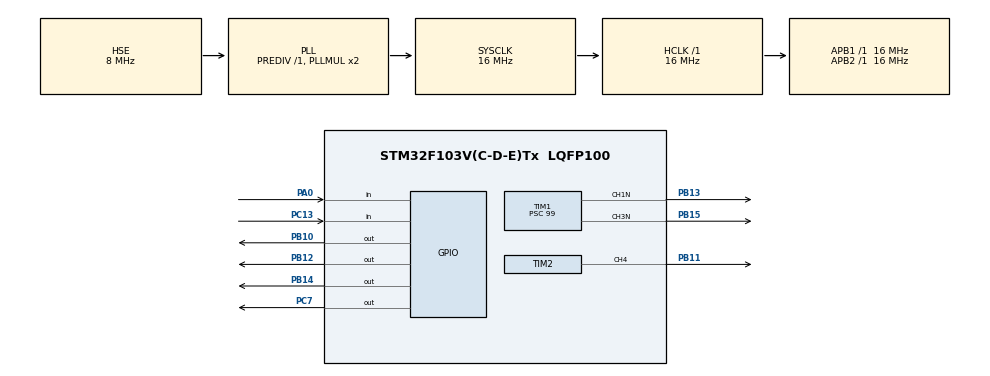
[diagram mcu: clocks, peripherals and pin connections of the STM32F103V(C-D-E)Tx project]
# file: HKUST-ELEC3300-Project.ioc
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Mcu.Family=STM32F1
Mcu.Name=STM32F103V(C-D-E)Tx
Mcu.Package=LQFP100
NVIC.PriorityGroup=NVIC_PRIORITYGROUP_4
OSC_IN.Mode=HSE-External-Oscillator
OSC_IN.Signal=RCC_OSC_IN
OSC_OUT.Mode=HSE-External-Oscillator
OSC_OUT.Signal=RCC_OSC_OUT
PA0-WKUP.Signal=GPIO_Input
PA13.Mode=Serial_Wire
PA13.Signal=SYS_JTMS-SWDIO
PA14.Mode=Serial_Wire
PA14.Signal=SYS_JTCK-SWCLK
PB10.GPIO_ModeDefaultOutputPP=GPIO_MODE_OUTPUT_PP
PB10.GPIO_PuPd=GPIO_NOPULL
PB10.Signal=GPIO_Output
PB11.Signal=S_TIM2_CH4
PB12.GPIO_ModeDefaultOutputPP=GPIO_MODE_OUTPUT_PP
PB12.GPIO_PuPd=GPIO_NOPULL
PB12.Signal=GPIO_Output
PB13.Mode=PWM Generation1 CH1N
PB13.Signal=TIM1_CH1N
PB14.GPIO_ModeDefaultOutputPP=GPIO_MODE_OUTPUT_PP
PB14.GPIO_PuPd=GPIO_NOPULL
PB14.Signal=GPIO_Output
PB15.Mode=PWM Generation3 CH3N
PB15.Signal=TIM1_CH3N
PC13-TAMPER-RTC.Signal=GPIO_Input
PC14-OSC32_IN.Mode=LSE-External-Oscillator
PC14-OSC32_IN.Signal=RCC_OSC32_IN
PC15-OSC32_OUT.Mode=LSE-External-Oscillator
PC15-OSC32_OUT.Signal=RCC_OSC32_OUT
PC7.GPIO_ModeDefaultOutputPP=GPIO_MODE_OUTPUT_PP
PC7.GPIO_PuPd=GPIO_NOPULL
PC7.Signal=GPIO_Output
ProjectManager.HeapSize=0x200
ProjectManager.StackSize=0x400
ProjectManager.TargetToolchain=CMake
RCC.AHBFreq_Value=16000000
RCC.APB1Freq_Value=16000000
RCC.APB1TimFreq_Value=16000000
RCC.APB2Freq_Value=16000000
RCC.APB2TimFreq_Value=16000000
RCC.HCLKFreq_Value=16000000
RCC.PLLSourceVirtual=RCC_PLLSOURCE_HSE
RCC.RCC_MCOSource=RCC_MCO1SOURCE_PLLCLK
RCC.SYSCLKFreq_VALUE=16000000
RCC.SYSCLKSource=RCC_SYSCLKSOURCE_PLLCLK
RCC.USBFreq_Value=16000000
SH.S_TIM2_CH4.0=TIM2_CH4,PWM Generation4 CH4
TIM1.Channel-PWM\ Generation1\ CH1N=TIM_CHANNEL_1
TIM1.Channel-PWM\ Generation3\ CH3N=TIM_CHANNEL_3
TIM1.Period=71
TIM1.Prescaler=99
TIM1.Pulse-PWM\ Generation1\ CH1N=35
TIM1.Pulse-PWM\ Generation3\ CH3N=35
TIM2.Channel-PWM\ Generation4\ CH4=TIM_CHANNEL_4
TIM2.Period=71
TIM2.Prescaler=99
TIM2.Pulse-PWM\ Generation4\ CH4=35
VP_TIM1_VS_ClockSourceINT.Mode=Internal
VP_TIM2_VS_ClockSourceINT.Mode=Internal
board=custom

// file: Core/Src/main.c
/* USER CODE BEGIN Header */
/**
 ******************************************************************************
 * @file           : main.c
 * @brief          : Main program body
 ******************************************************************************
 * @attention
 *
 * Copyright (c) 2025 STMicroelectronics.
 * All rights reserved.
 *
 * This software is licensed under terms that can be found in the LICENSE file
 * in the root directory of this software component.
 * If no LICENSE file comes with this software, it is provided AS-IS.
 *
 ******************************************************************************
 */
/* USER CODE END Header */
#include "main.h"

/* USER CODE BEGIN Includes */

#include <math.h>

/* USER CODE END Includes */

/* USER CODE BEGIN PD */

// Motor directions
#define MOTOR_L_DIR GPIO_PIN_12
#define MOTOR_L_STEP GPIO_PIN_13
#define MOTOR_R_DIR GPIO_PIN_14
#define MOTOR_R_STEP GPIO_PIN_15

#define DIR_CW GPIO_PIN_SET
#define DIR_CCW GPIO_PIN_RESET
// #define DIR_STOP  PLACEHOLD

#define DFLT_STEP_T 1
#define DFLT_STEP_FREQ 1000
#define DFLT_STEP_CYCLE 50

/* USER CODE END PD */

TIM_HandleTypeDef htim1;
TIM_HandleTypeDef htim2;

/* USER CODE BEGIN PV */

int32_t Global_X = 0;
int32_t Global_Y = 0;

/* USER CODE END PV */

void SystemClock_Config(void);
static void MX_GPIO_Init(void);
static void MX_TIM1_Init(void);
static void MX_TIM2_Init(void);
/* USER CODE BEGIN PFP */
void penup();
void pendown();
void legacyMove(uint8_t direction, uint32_t time, uint8_t draw);
void moveToXY(float delta_X, float delta_Y);
void moveAngle(float distance, float angle);
void moveToAbsoluteXY(int32_t target_X, int32_t target_Y);
void motorControl(int32_t delta_MotorL, int32_t delta_MotorR);
void updateGlobalXY(float delta_X, float delta_Y);
void drawFu();
void drawCircle();
void drawRegularPentagon();
/* USER CODE END PFP */

int main(void)
{

  /* MCU Configuration--------------------------------------------------------*/

  /* Reset of all peripherals, Initializes the Flash interface and the Systick. */
  HAL_Init();

  /* Configure the system clock */
  SystemClock_Config();

  /* Initialize all configured peripherals */
  MX_GPIO_Init();
  MX_TIM1_Init();
  MX_TIM2_Init();
  /* USER CODE BEGIN 2 */
  HAL_GPIO_WritePin(GPIOC, GPIO_PIN_7, GPIO_PIN_RESET); // enable
  moveToXY(100, 0);
  moveToXY(-100, 0);
  moveToXY(0, 100);
  moveToXY(0, -100);
  penup();
  pendown();
  HAL_GPIO_WritePin(GPIOC, GPIO_PIN_7, GPIO_PIN_SET); // disable
  /* USER CODE END 2 */

  /* Infinite loop */
  /* USER CODE BEGIN WHILE */
  while (1)
  {
    if (HAL_GPIO_ReadPin(GPIOA, GPIO_PIN_0))
    {
      drawFu();
    }
    if (HAL_GPIO_ReadPin(GPIOC, GPIO_PIN_13))
    {
      drawCircle();
      drawRegularPentagon();
    }
    /* USER CODE END WHILE */

  }
}

void SystemClock_Config(void)
{
  RCC_OscInitTypeDef RCC_OscInitStruct = {0};
  RCC_ClkInitTypeDef RCC_ClkInitStruct = {0};

  /** Initializes the RCC Oscillators according to the specified parameters
  * in the RCC_OscInitTypeDef structure.
  */
  RCC_OscInitStruct.OscillatorType = RCC_OSCILLATORTYPE_HSE;
  RCC_OscInitStruct.HSEState = RCC_HSE_ON;
  RCC_OscInitStruct.HSEPredivValue = RCC_HSE_PREDIV_DIV1;
  RCC_OscInitStruct.HSIState = RCC_HSI_ON;
  RCC_OscInitStruct.PLL.PLLState = RCC_PLL_ON;
  RCC_OscInitStruct.PLL.PLLSource = RCC_PLLSOURCE_HSE;
  RCC_OscInitStruct.PLL.PLLMUL = RCC_PLL_MUL2;
  if (HAL_RCC_OscConfig(&RCC_OscInitStruct) != HAL_OK)
  {
    Error_Handler();
  }

  /** Initializes the CPU, AHB and APB buses clocks
  */
  RCC_ClkInitStruct.ClockType = RCC_CLOCKTYPE_HCLK|RCC_CLOCKTYPE_SYSCLK
                              |RCC_CLOCKTYPE_PCLK1|RCC_CLOCKTYPE_PCLK2;
  RCC_ClkInitStruct.SYSCLKSource = RCC_SYSCLKSOURCE_PLLCLK;
  RCC_ClkInitStruct.AHBCLKDivider = RCC_SYSCLK_DIV1;
  RCC_ClkInitStruct.APB1CLKDivider = RCC_HCLK_DIV1;
  RCC_ClkInitStruct.APB2CLKDivider = RCC_HCLK_DIV1;

  if (HAL_RCC_ClockConfig(&RCC_ClkInitStruct, FLASH_LATENCY_0) != HAL_OK)
  {
    Error_Handler();
  }
}

static void MX_TIM1_Init(void)
{

  TIM_ClockConfigTypeDef sClockSourceConfig = {0};
  TIM_MasterConfigTypeDef sMasterConfig = {0};
  TIM_OC_InitTypeDef sConfigOC = {0};
  TIM_BreakDeadTimeConfigTypeDef sBreakDeadTimeConfig = {0};

  htim1.Instance = TIM1;
  htim1.Init.Prescaler = 99;
  htim1.Init.CounterMode = TIM_COUNTERMODE_UP;
  htim1.Init.Period = 71;
  htim1.Init.ClockDivision = TIM_CLOCKDIVISION_DIV1;
  htim1.Init.RepetitionCounter = 0;
  htim1.Init.AutoReloadPreload = TIM_AUTORELOAD_PRELOAD_DISABLE;
  if (HAL_TIM_Base_Init(&htim1) != HAL_OK)
  {
    Error_Handler();
  }
  sClockSourceConfig.ClockSource = TIM_CLOCKSOURCE_INTERNAL;
  if (HAL_TIM_ConfigClockSource(&htim1, &sClockSourceConfig) != HAL_OK)
  {
    Error_Handler();
  }
  if (HAL_TIM_PWM_Init(&htim1) != HAL_OK)
  {
    Error_Handler();
  }
  sMasterConfig.MasterOutputTrigger = TIM_TRGO_RESET;
  sMasterConfig.MasterSlaveMode = TIM_MASTERSLAVEMODE_DISABLE;
  if (HAL_TIMEx_MasterConfigSynchronization(&htim1, &sMasterConfig) != HAL_OK)
  {
    Error_Handler();
  }
  sConfigOC.OCMode = TIM_OCMODE_PWM1;
  sConfigOC.Pulse = 35;
  sConfigOC.OCPolarity = TIM_OCPOLARITY_HIGH;
  sConfigOC.OCNPolarity = TIM_OCNPOLARITY_HIGH;
  sConfigOC.OCFastMode = TIM_OCFAST_DISABLE;
  sConfigOC.OCIdleState = TIM_OCIDLESTATE_RESET;
  sConfigOC.OCNIdleState = TIM_OCNIDLESTATE_RESET;
  if (HAL_TIM_PWM_ConfigChannel(&htim1, &sConfigOC, TIM_CHANNEL_1) != HAL_OK)
  {
    Error_Handler();
  }
  if (HAL_TIM_PWM_ConfigChannel(&htim1, &sConfigOC, TIM_CHANNEL_3) != HAL_OK)
  {
    Error_Handler();
  }
  sBreakDeadTimeConfig.OffStateRunMode = TIM_OSSR_DISABLE;
  sBreakDeadTimeConfig.OffStateIDLEMode = TIM_OSSI_DISABLE;
  sBreakDeadTimeConfig.LockLevel = TIM_LOCKLEVEL_OFF;
  sBreakDeadTimeConfig.DeadTime = 0;
  sBreakDeadTimeConfig.BreakState = TIM_BREAK_DISABLE;
  sBreakDeadTimeConfig.BreakPolarity = TIM_BREAKPOLARITY_HIGH;
  sBreakDeadTimeConfig.AutomaticOutput = TIM_AUTOMATICOUTPUT_DISABLE;
  if (HAL_TIMEx_ConfigBreakDeadTime(&htim1, &sBreakDeadTimeConfig) != HAL_OK)
  {
    Error_Handler();
  }
  HAL_TIM_MspPostInit(&htim1);

}

static void MX_TIM2_Init(void)
{

  TIM_ClockConfigTypeDef sClockSourceConfig = {0};
  TIM_MasterConfigTypeDef sMasterConfig = {0};
  TIM_OC_InitTypeDef sConfigOC = {0};

  htim2.Instance = TIM2;
  htim2.Init.Prescaler = 99;
  htim2.Init.CounterMode = TIM_COUNTERMODE_UP;
  htim2.Init.Period = 71;
  htim2.Init.ClockDivision = TIM_CLOCKDIVISION_DIV1;
  htim2.Init.AutoReloadPreload = TIM_AUTORELOAD_PRELOAD_DISABLE;
  if (HAL_TIM_Base_Init(&htim2) != HAL_OK)
  {
    Error_Handler();
  }
  sClockSourceConfig.ClockSource = TIM_CLOCKSOURCE_INTERNAL;
  if (HAL_TIM_ConfigClockSource(&htim2, &sClockSourceConfig) != HAL_OK)
  {
    Error_Handler();
  }
  if (HAL_TIM_PWM_Init(&htim2) != HAL_OK)
  {
    Error_Handler();
  }
  sMasterConfig.MasterOutputTrigger = TIM_TRGO_RESET;
  sMasterConfig.MasterSlaveMode = TIM_MASTERSLAVEMODE_DISABLE;
  if (HAL_TIMEx_MasterConfigSynchronization(&htim2, &sMasterConfig) != HAL_OK)
  {
    Error_Handler();
  }
  sConfigOC.OCMode = TIM_OCMODE_PWM1;
  sConfigOC.Pulse = 35;
  sConfigOC.OCPolarity = TIM_OCPOLARITY_HIGH;
  sConfigOC.OCFastMode = TIM_OCFAST_DISABLE;
  if (HAL_TIM_PWM_ConfigChannel(&htim2, &sConfigOC, TIM_CHANNEL_4) != HAL_OK)
  {
    Error_Handler();
  }
  HAL_TIM_MspPostInit(&htim2);

}

static void MX_GPIO_Init(void)
{
  GPIO_InitTypeDef GPIO_InitStruct = {0};

  /* GPIO Ports Clock Enable */
  __HAL_RCC_GPIOC_CLK_ENABLE();
  __HAL_RCC_GPIOA_CLK_ENABLE();
  __HAL_RCC_GPIOB_CLK_ENABLE();

  /*Configure GPIO pin Output Level */
  HAL_GPIO_WritePin(GPIOB, GPIO_PIN_10|GPIO_PIN_12|GPIO_PIN_14, GPIO_PIN_RESET);

  /*Configure GPIO pin Output Level */
  HAL_GPIO_WritePin(GPIOC, GPIO_PIN_7, GPIO_PIN_RESET);

  /*Configure GPIO pin : PC13 */
  GPIO_InitStruct.Pin = GPIO_PIN_13;
  GPIO_InitStruct.Mode = GPIO_MODE_INPUT;
  GPIO_InitStruct.Pull = GPIO_NOPULL;
  HAL_GPIO_Init(GPIOC, &GPIO_InitStruct);

  /*Configure GPIO pin : PA0 */
  GPIO_InitStruct.Pin = GPIO_PIN_0;
  GPIO_InitStruct.Mode = GPIO_MODE_INPUT;
  GPIO_InitStruct.Pull = GPIO_NOPULL;
  HAL_GPIO_Init(GPIOA, &GPIO_InitStruct);

  /*Configure GPIO pins : PB10 PB12 PB14 */
  GPIO_InitStruct.Pin = GPIO_PIN_10|GPIO_PIN_12|GPIO_PIN_14;
  GPIO_InitStruct.Mode = GPIO_MODE_OUTPUT_PP;
  GPIO_InitStruct.Pull = GPIO_NOPULL;
  GPIO_InitStruct.Speed = GPIO_SPEED_FREQ_LOW;
  HAL_GPIO_Init(GPIOB, &GPIO_InitStruct);

  /*Configure GPIO pin : PC7 */
  GPIO_InitStruct.Pin = GPIO_PIN_7;
  GPIO_InitStruct.Mode = GPIO_MODE_OUTPUT_PP;
  GPIO_InitStruct.Pull = GPIO_NOPULL;
  GPIO_InitStruct.Speed = GPIO_SPEED_FREQ_LOW;
  HAL_GPIO_Init(GPIOC, &GPIO_InitStruct);

}

/* USER CODE BEGIN 4 */

//
// Discrete stepper motor control
//

void drawFu()
{
  HAL_GPIO_WritePin(GPIOC, GPIO_PIN_7, GPIO_PIN_RESET); // enable

  legacyMove(3, 3000, 1);
  HAL_Delay(1000);
  legacyMove(5, 3000, 1);
  HAL_Delay(1000);
  legacyMove(7, 3000, 1);
  HAL_Delay(1000);
  legacyMove(1, 3000, 1);
  HAL_Delay(1000);

  penup();
  HAL_Delay(1000);
  legacyMove(4, 871, 0);
  HAL_Delay(1000);
  legacyMove(6, 400, 0);
  HAL_Delay(1000);

  pendown();
  HAL_Delay(1000);
  legacyMove(2, 300, 1);
  HAL_Delay(1000);

  penup();
  HAL_Delay(1000);
  legacyMove(4, 200, 0);
  HAL_Delay(1000);
  legacyMove(6, 450, 0);
  HAL_Delay(1000);

  pendown();
  HAL_Delay(1000);
  legacyMove(2, 500, 1);
  HAL_Delay(1000);

  penup();
  HAL_Delay(1000);
  legacyMove(6, 200, 0);
  HAL_Delay(1000);

  pendown();
  HAL_Delay(1000);
  legacyMove(4, 900, 1);
  HAL_Delay(1000);

  penup();
  HAL_Delay(1000);
  legacyMove(0, 650, 0);
  HAL_Delay(1000);
  legacyMove(6, 150, 0);
  HAL_Delay(1000);

  pendown();
  HAL_Delay(1000);
  legacyMove(4, 350, 1);
  HAL_Delay(1000);

  penup();
  HAL_Delay(1000);
  legacyMove(0, 350, 0);
  HAL_Delay(1000);
  legacyMove(2, 300, 0);
  HAL_Delay(1000);

  pendown();
  HAL_Delay(1000);
  legacyMove(4, 350, 1);
  HAL_Delay(1000);

  penup();
  HAL_Delay(1000);
  legacyMove(2, 200, 0);
  HAL_Delay(1000);
  legacyMove(0, 825, 0);
  HAL_Delay(1000);

  pendown();
  HAL_Delay(1000);
  legacyMove(2, 400, 1);
  HAL_Delay(1000);

  penup();
  HAL_Delay(1000);
  legacyMove(6, 50, 0);
  HAL_Delay(1000);
  legacyMove(4, 150, 0);
  HAL_Delay(1000);

  pendown();
  HAL_Delay(1000);
  legacyMove(4, 200, 1);
  HAL_Delay(1000);
  legacyMove(6, 300, 1);
  HAL_Delay(1000);
  legacyMove(0, 200, 1);
  HAL_Delay(1000);
  legacyMove(2, 300, 1);
  HAL_Delay(1000);

  penup();
  HAL_Delay(1000);
  legacyMove(4, 350, 0);
  HAL_Delay(1000);
  legacyMove(2, 100, 0);
  HAL_Delay(1000);

  pendown();
  HAL_Delay(1000);
  legacyMove(4, 500, 1);
  HAL_Delay(1000);
  legacyMove(6, 500, 1);
  HAL_Delay(1000);
  legacyMove(0, 500, 1);
  HAL_Delay(1000);
  legacyMove(2, 500, 1);
  HAL_Delay(1000);

  penup();
  HAL_Delay(1000);
  legacyMove(6, 500, 0);
  HAL_Delay(1000);
  legacyMove(4, 225, 0);
  HAL_Delay(1000);

  pendown();
  HAL_Delay(1000);
  legacyMove(2, 500, 1);
  HAL_Delay(1000);

  penup();
  HAL_Delay(1000);
  legacyMove(0, 225, 0);
  HAL_Delay(1000);
  legacyMove(6, 225, 0);
  HAL_Delay(1000);

  pendown();
  HAL_Delay(1000);
  legacyMove(4, 500, 1);

  HAL_GPIO_WritePin(GPIOC, GPIO_PIN_7, GPIO_PIN_SET); // disable
}

void drawCircle()
{
  HAL_GPIO_WritePin(GPIOC, GPIO_PIN_7, GPIO_PIN_RESET); // enable

  for (int i = 0; i < 72; i++)
  {
    if (!(i % 12))
    {
      uint32_t tick = HAL_GetTick();
      HAL_GPIO_WritePin(GPIOB, GPIO_PIN_10, GPIO_PIN_SET);
      while (HAL_GetTick() - tick < 5)
      {
        HAL_GPIO_TogglePin(GPIOB, GPIO_PIN_11);
        HAL_Delay(1);
      }
    }
    moveAngle(25, i * 5);
  }

  HAL_GPIO_WritePin(GPIOC, GPIO_PIN_7, GPIO_PIN_SET); // disable
}

void drawRegularPentagon()
{
  HAL_GPIO_WritePin(GPIOC, GPIO_PIN_7, GPIO_PIN_RESET); // enable

  uint32_t tick = HAL_GetTick();
  HAL_GPIO_WritePin(GPIOB, GPIO_PIN_10, GPIO_PIN_SET);
  while (HAL_GetTick() - tick < 5)
  {
    HAL_GPIO_TogglePin(GPIOB, GPIO_PIN_11);
    HAL_Delay(1);
  }
  for (int i = 0; i < 5; i++)
  {
    moveAngle(200, (float)i * 360 / 5);
  }

  HAL_GPIO_WritePin(GPIOC, GPIO_PIN_7, GPIO_PIN_SET); // disable
}

void penup()
{
  uint32_t tick = HAL_GetTick();
  HAL_GPIO_WritePin(GPIOB, GPIO_PIN_10, GPIO_PIN_RESET);
  while (HAL_GetTick() - tick < 100)
  {
    HAL_GPIO_TogglePin(GPIOB, GPIO_PIN_11);
    HAL_Delay(1);
  }
}

void pendown()
{
  uint32_t tick = HAL_GetTick();
  HAL_GPIO_WritePin(GPIOB, GPIO_PIN_10, GPIO_PIN_SET);
  while (HAL_GetTick() - tick < 100)
  {
    HAL_GPIO_TogglePin(GPIOB, GPIO_PIN_11);
    HAL_Delay(1);
  }
}

void legacyMove(uint8_t direction, uint32_t time, uint8_t draw)
{
  uint32_t tick = HAL_GetTick();
  if (draw)
  {
    HAL_GPIO_WritePin(GPIOB, GPIO_PIN_10, GPIO_PIN_SET);
    while (HAL_GetTick() - tick < 5)
    {
      HAL_GPIO_TogglePin(GPIOB, GPIO_PIN_11);
      HAL_Delay(1);
    }
  }
  switch (direction)
  {
  // 上
  case 0:
    HAL_GPIO_WritePin(GPIOB, GPIO_PIN_14, GPIO_PIN_RESET);
    HAL_GPIO_WritePin(GPIOB, GPIO_PIN_12, GPIO_PIN_SET);
    while (HAL_GetTick() - tick < time + 50)
    {
      HAL_GPIO_TogglePin(GPIOB, GPIO_PIN_15);
      HAL_GPIO_TogglePin(GPIOB, GPIO_PIN_13);
      HAL_Delay(1);
    }
    break;

  // 右上 1
  case 1:
    HAL_GPIO_WritePin(GPIOB, GPIO_PIN_12, GPIO_PIN_SET);
    while (HAL_GetTick() - tick < time + 50)
    {
      HAL_GPIO_TogglePin(GPIOB, GPIO_PIN_13);
      HAL_Delay(1);
    }
    break;

  // 右
  case 2:
    HAL_GPIO_WritePin(GPIOB, GPIO_PIN_14, GPIO_PIN_SET);
    HAL_GPIO_WritePin(GPIOB, GPIO_PIN_12, GPIO_PIN_SET);
    while (HAL_GetTick() - tick < time + 50)
    {
      HAL_GPIO_TogglePin(GPIOB, GPIO_PIN_15);
      HAL_GPIO_TogglePin(GPIOB, GPIO_PIN_13);
      HAL_Delay(1);
    }
    break;

  // 右下 1
  case 3:
    HAL_GPIO_WritePin(GPIOB, GPIO_PIN_14, GPIO_PIN_SET);
    while (HAL_GetTick() - tick < time + 50)
    {
      HAL_GPIO_TogglePin(GPIOB, GPIO_PIN_15);
      HAL_Delay(1);
    }
    break;

  // 下
  case 4:
    HAL_GPIO_WritePin(GPIOB, GPIO_PIN_14, GPIO_PIN_SET);
    HAL_GPIO_WritePin(GPIOB, GPIO_PIN_12, GPIO_PIN_RESET);
    while (HAL_GetTick() - tick < time + 50)
    {
      HAL_GPIO_TogglePin(GPIOB, GPIO_PIN_15);
      HAL_GPIO_TogglePin(GPIOB, GPIO_PIN_13);
      HAL_Delay(1);
    }
    break;

  // 左下
  case 5:
    HAL_GPIO_WritePin(GPIOB, GPIO_PIN_12, GPIO_PIN_RESET);
    while (HAL_GetTick() - tick < time + 50)
    {
      HAL_GPIO_TogglePin(GPIOB, GPIO_PIN_13);
      HAL_Delay(1);
    }
    break;

  // 左
  case 6:
    HAL_GPIO_WritePin(GPIOB, GPIO_PIN_14, GPIO_PIN_RESET);
    HAL_GPIO_WritePin(GPIOB, GPIO_PIN_12, GPIO_PIN_RESET);
    while (HAL_GetTick() - tick < time + 50)
    {
      HAL_GPIO_TogglePin(GPIOB, GPIO_PIN_15);
      HAL_GPIO_TogglePin(GPIOB, GPIO_PIN_13);
      HAL_Delay(1);
    }
    break;

  // 左上
  case 7:
    HAL_GPIO_WritePin(GPIOB, GPIO_PIN_14, GPIO_PIN_RESET);
    while (HAL_GetTick() - tick < time + 50)
    {
      HAL_GPIO_TogglePin(GPIOB, GPIO_PIN_15);
      HAL_Delay(1);
    }
    break;
  }
}

//
// Continuous (stepping) motor controls
//

// WARNING:
//  float are supported, but steps and Global Pos are int32_t, relative error will accumulate
void moveToXY(float delta_X, float delta_Y)
{
  // quantize to steps (default scenrio: L = CCW, R = STOP)
  int32_t delta_MotorL = (int32_t)(delta_X + delta_Y);
  int32_t delta_MotorR = (int32_t)(delta_X - delta_Y);

  motorControl(delta_MotorL, delta_MotorR);

  updateGlobalXY(delta_X, delta_Y);
}

void moveAngle(float distance, float angle)
{
  float delta_X = distance * cos(angle * M_PI / 180.0f);
  float delta_Y = distance * sin(angle * M_PI / 180.0f);

  moveToXY(delta_X, delta_Y);
}

void moveToAbsoluteXY(int32_t target_X, int32_t target_Y)
{
  // calculate deltas
  float delta_X = target_X - Global_X;
  float delta_Y = target_Y - Global_Y;

  moveToXY(delta_X, delta_Y);
}

void motorControl(int32_t delta_MotorL, int32_t delta_MotorR)
{
  // motor directions
  int8_t dirL = (delta_MotorL > 0) ? DIR_CW : DIR_CCW;
  int8_t dirR = (delta_MotorR > 0) ? DIR_CW : DIR_CCW;
  HAL_GPIO_WritePin(GPIOB, MOTOR_L_DIR, dirL);
  HAL_GPIO_WritePin(GPIOB, MOTOR_R_DIR, dirR);

  // absolute steps count // to determine which axis for base step
  int32_t stepsL = (delta_MotorL > 0) ? delta_MotorL : -delta_MotorL;
  int32_t stepsR = (delta_MotorR > 0) ? delta_MotorR : -delta_MotorR;
  int32_t maxSteps = (stepsL > stepsR) ? stepsL : stepsR;
  if (stepsL == 0 && stepsR == 0) return; // no movement

  // Activate PWM channels for hardware pulse generation
  HAL_TIM_PWM_Start(&htim1, TIM_CHANNEL_1); // motorL
  HAL_TIM_PWM_Start(&htim2, TIM_CHANNEL_3); // motorR
  // start with 0% duty cycle
  HAL_TIM_SET_COMPARE(&htim1, TIM_CHANNEL_1, 0);
  HAL_TIM_SET_COMPARE(&htim2, TIM_CHANNEL_3, 0);

  //
  int32_t remainingStepsL = stepsL;
  int32_t remainingStepsR = stepsR;

  // Bresenham's line algorithm
  // Basic:
  // move using unit-length of the longer axis, then apply change of the other axis with error accumulation.
  // set unit-length of the longer axis to aviod sharp jumps.
  // Mutation:
  // half steps for each and have the algo in both motor, error threshold is maxSteps.
  // check threshold for each, apply change and sutract error if threshold is reached.
  // increment absolute steps into error each iteration.
  int32_t error_L = maxSteps / 2;
  int32_t error_R = maxSteps / 2;

  for (int i = 0; i < maxSteps; i++)
  {
    bool motorL_working = false;
    bool motorR_working = false;

    // left motor should step?
    if (error_L >= stepsL)
    {
      if (remainingStepsL > 0)
      {
        // Lagacy: delay stepping
        // HAL_GPIO_WritePin(GPIOB, MOTOR_L_STEP, GPIO_PIN_SET);
        // HAL_Delay(DFLT_STEP_T);
        // HAL_GPIO_WritePin(GPIOB, MOTOR_L_STEP, GPIO_PIN_RESET);

        // PWM stepping
        motorL_working = true;
        remainingStepsL--;
      }
      error_L -= maxSteps;
    }
    // right motor should step?
    if (error_R >= stepsR)
    {
      if (remainingStepsR > 0)
      {
        // Lagacy: delay stepping
        // HAL_GPIO_WritePin(GPIOB, MOTOR_R_STEP, GPIO_PIN_SET);
        // HAL_Delay(DFLT_STEP_T);
        // HAL_GPIO_WritePin(GPIOB, MOTOR_R_STEP, GPIO_PIN_RESET);

        // PWM stepping
        motorR_working = true;
        remainingStepsR--;
      }
      error_R -= maxSteps;
    }
    // update error
    error_L += stepsL;
    error_R += stepsR;

    // PWM stepping
    if (motorL_working) {
      // PWM 50% (72)
      __HAL_TIM_SET_COMPARE(&htim1, TIM_CHANNEL_1, 36);
    } else {
      //  PWM 0%
      __HAL_TIM_SET_COMPARE(&htim1, TIM_CHANNEL_1, 0);
    }

    if (motorR_working) {
      // PWM 50% (72)
      __HAL_TIM_SET_COMPARE(&htim2, TIM_CHANNEL_3, 36);
    } else {
      //  PWM 0%
      __HAL_TIM_SET_COMPARE(&htim2, TIM_CHANNEL_3, 0);
    }

    HAL_Delay(1);
  }

  // stop PWM channels
  __HAL_TIM_SET_COMPARE(&htim1, TIM_CHANNEL_1, 0);
  __HAL_TIM_SET_COMPARE(&htim2, TIM_CHANNEL_3, 0);
  HAL_TIM_PWM_Stop(&htim1, TIM_CHANNEL_1);
  HAL_TIM_PWM_Stop(&htim2, TIM_CHANNEL_3);
}

// WARNING:
// deltas can be floats, steps and Global positions are int32_t
// steps are time dependent, overtime relative error will accumulate
void updateGlobalXY(float delta_X, float delta_Y)
{
  Global_X += (int32_t)delta_X;
  Global_Y += (int32_t)delta_Y;
}

/* USER CODE END 4 */

void Error_Handler(void)
{
  __disable_irq();
  while (1)
  {
  }
}
